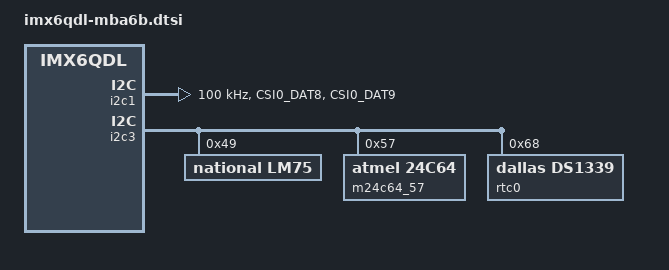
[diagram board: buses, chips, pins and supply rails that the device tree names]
// SPDX-License-Identifier: GPL-2.0-only
/*
 * Copyright 2013 Sascha Hauer, Pengutronix
 *
 * Copyright 2013-2021 TQ-Systems GmbH
 * Author: Markus Niebel <Markus.Niebel@tq-group.com>
 */

/ {
	aliases {
		rtc0 = &rtc0;
	};
};

&fec {
	pinctrl-names = "default";
	pinctrl-0 = <&pinctrl_enet>;
};

&i2c1 {
	clock-frequency = <100000>;
	pinctrl-names = "default";
	pinctrl-0 = <&pinctrl_i2c1>;
	status = "okay";
};

&i2c3 {
	lm75: temperature-sensor@49 {
		compatible = "national,lm75";
		reg = <0x49>;
	};

	m24c64_57: eeprom@57 {
		compatible = "atmel,24c64";
		reg = <0x57>;
		pagesize = <32>;
	};

	rtc0: rtc@68 {
		compatible = "dallas,ds1339";
		reg = <0x68>;
	};
};

&iomuxc {
	pinctrl_i2c1: i2c1grp {
		fsl,pins = <
			MX6QDL_PAD_CSI0_DAT8__I2C1_SDA 0x4001b899
			MX6QDL_PAD_CSI0_DAT9__I2C1_SCL 0x4001b899
		>;
	};
};
